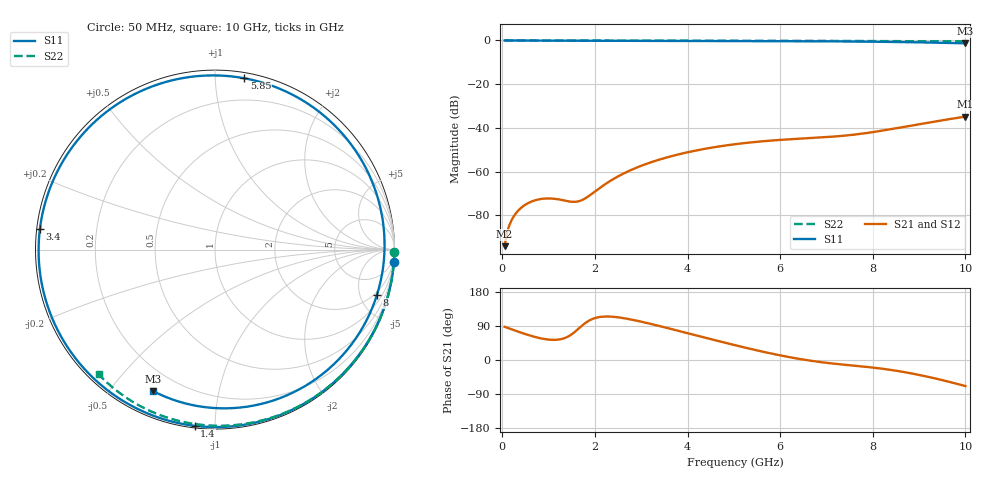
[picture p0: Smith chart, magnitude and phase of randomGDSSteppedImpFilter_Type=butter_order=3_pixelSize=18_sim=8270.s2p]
! freq	dB(S11)	phase(S11)	dB(S12)	phase(S12)
!  dB(S21)	phase(S21)	dB(S22)	phase(S22)
!S-par simulation data
#  GHz  S  DB  R 50
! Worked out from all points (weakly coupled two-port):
!   200 points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, 50 MHz to 10 GHz, reference 50 ohm
!   highest |S21| = -34.83 dB at 10 GHz (marker M1); lowest = -94.1 dB at 50 MHz (marker M2)
!   lowest |S11| = -1.3 dB at 10 GHz (marker M3), VSWR 13.30, Z = 5.34 - j32.3 ohm
!   |S11| at or under -10 dB: nowhere
!   |S22| runs from -0.4 to 0.0 dB; largest |S21 - S12| = 0
!   S11 on the Smith chart (normalised r, x): 50 MHz: 0, -30; 1.4 GHz: 0.01, -0.89; 3.4 GHz: 0.01, +0.06; 5.85 GHz: 0.04, +1.18; 8 GHz: 1.68, -6.91; 10 GHz: 0.11, -0.65
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0.05  -0.00 -3.9  -94.06 87.7  -94.06 87.7  -0.00 -0.8
0.25  -0.03 -19.1  -80.33 78.8  -80.33 78.8  -0.01 -3.9
0.5  -0.05 -37.7  -75.07 68.3  -75.07 68.3  -0.01 -7.7
0.75  -0.07 -55.5  -72.85 59.5  -72.85 59.5  -0.01 -11.5
1.05  -0.09 -75.4  -72.27 53.3  -72.27 53.3  -0.02 -16.0
1.4  -0.10 -96.6  -73.44 60.7  -73.44 60.7  -0.03 -21.3
1.75  -0.11 -115.6  -72.69 93.5  -72.69 93.5  -0.03 -26.5
2.15  -0.12 -135.2  -66.77 114.2  -66.77 114.2  -0.04 -32.4
2.55  -0.13 -153.0  -61.59 111.8  -61.59 111.8  -0.05 -38.3
3.4  -0.16 173.2  -54.42 89.4  -54.42 89.4  -0.07 -50.5
4.2  -0.18 143.5  -50.25 64.5  -50.25 64.5  -0.09 -61.6
5.05  -0.23 111.8  -47.38 38.3  -47.38 38.3  -0.11 -73.0
5.85  -0.28 80.3  -45.70 16.0  -45.70 16.0  -0.14 -83.4
6.25  -0.31 63.7  -45.13 6.4  -45.13 6.4  -0.16 -88.5
6.7  -0.35 44.3  -44.58 -2.6  -44.58 -2.6  -0.18 -94.1
7.35  -0.44 14.9  -43.61 -12.1  -43.61 -12.1  -0.22 -102.0
8  -0.57 -15.6  -41.91 -20.0  -41.91 -20.0  -0.26 -109.8
8.35  -0.65 -32.3  -40.71 -25.4  -40.71 -25.4  -0.29 -113.9
8.8  -0.79 -54.1  -39.04 -34.6  -39.04 -34.6  -0.33 -119.1
9.2  -0.94 -73.7  -37.56 -44.6  -37.56 -44.6  -0.36 -123.8
9.6  -1.11 -93.5  -36.16 -56.0  -36.16 -56.0  -0.40 -128.4
10  -1.31 -113.8  -34.83 -68.8  -34.83 -68.8  -0.44 -133.0
